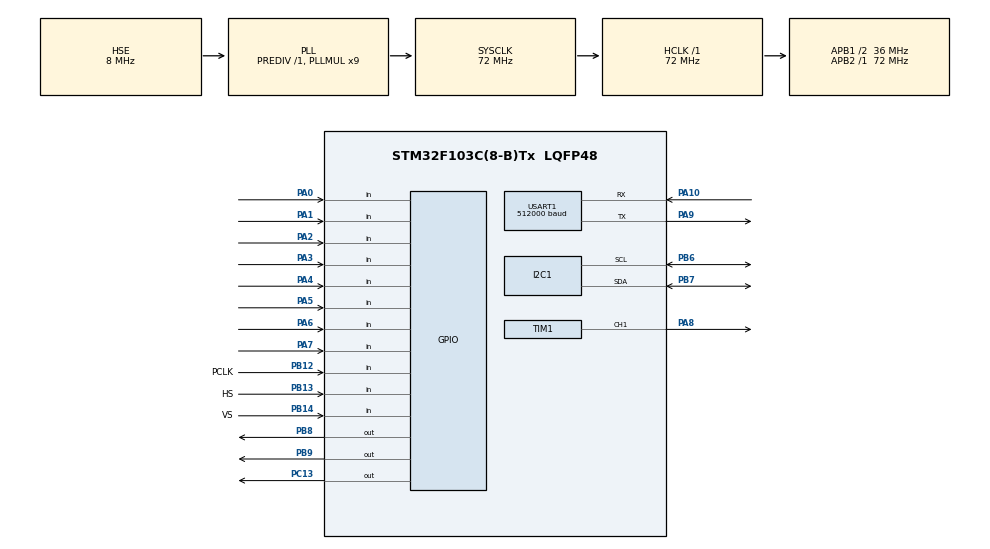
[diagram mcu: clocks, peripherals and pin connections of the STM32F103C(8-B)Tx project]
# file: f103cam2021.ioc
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Dma.Request0=USART1_TX
Dma.USART1_TX.0.Direction=DMA_MEMORY_TO_PERIPH
Dma.USART1_TX.0.Instance=DMA1_Channel4
Dma.USART1_TX.0.MemDataAlignment=DMA_MDATAALIGN_BYTE
Dma.USART1_TX.0.MemInc=DMA_MINC_ENABLE
Dma.USART1_TX.0.Mode=DMA_NORMAL
Dma.USART1_TX.0.PeriphDataAlignment=DMA_PDATAALIGN_BYTE
Dma.USART1_TX.0.PeriphInc=DMA_PINC_DISABLE
Dma.USART1_TX.0.Priority=DMA_PRIORITY_LOW
Mcu.Family=STM32F1
Mcu.Name=STM32F103C(8-B)Tx
Mcu.Package=LQFP48
NVIC.DMA1_Channel4_IRQn=true\:0\:0\:false\:false\:true\:false\:true
NVIC.PriorityGroup=NVIC_PRIORITYGROUP_4
PA0-WKUP.GPIO_PuPd=GPIO_PULLUP
PA0-WKUP.Signal=GPIO_Input
PA1.GPIO_PuPd=GPIO_PULLUP
PA1.Signal=GPIO_Input
PA10.Mode=Asynchronous
PA10.Signal=USART1_RX
PA13.Mode=Serial_Wire
PA13.Signal=SYS_JTMS-SWDIO
PA14.Mode=Serial_Wire
PA14.Signal=SYS_JTCK-SWCLK
PA2.GPIO_PuPd=GPIO_PULLUP
PA2.Signal=GPIO_Input
PA3.GPIO_PuPd=GPIO_PULLUP
PA3.Signal=GPIO_Input
PA4.Signal=GPIO_Input
PA5.Signal=GPIO_Input
PA6.Signal=GPIO_Input
PA7.Signal=GPIO_Input
PA8.Signal=S_TIM1_CH1
PA9.Mode=Asynchronous
PA9.Signal=USART1_TX
PB12.GPIO_Label=PCLK
PB12.Signal=GPIO_Input
PB13.GPIO_Label=HS
PB13.Signal=GPIO_Input
PB14.GPIO_Label=VS
PB14.Signal=GPIO_Input
PB6.Mode=I2C
PB6.Signal=I2C1_SCL
PB7.Mode=I2C
PB7.Signal=I2C1_SDA
PB8.Signal=GPIO_Output
PB9.Signal=GPIO_Output
PC13-TAMPER-RTC.Signal=GPIO_Output
PD0-OSC_IN.Mode=HSE-External-Oscillator
PD0-OSC_IN.Signal=RCC_OSC_IN
PD1-OSC_OUT.Mode=HSE-External-Oscillator
PD1-OSC_OUT.Signal=RCC_OSC_OUT
ProjectManager.HeapSize=0x200
ProjectManager.StackSize=0x400
ProjectManager.TargetToolchain=STM32CubeIDE
RCC.AHBFreq_Value=72000000
RCC.APB1CLKDivider=RCC_HCLK_DIV2
RCC.APB1Freq_Value=36000000
RCC.APB1TimFreq_Value=72000000
RCC.APB2Freq_Value=72000000
RCC.APB2TimFreq_Value=72000000
RCC.HCLKFreq_Value=72000000
RCC.PLLMUL=RCC_PLL_MUL9
RCC.PLLSourceVirtual=RCC_PLLSOURCE_HSE
RCC.SYSCLKFreq_VALUE=72000000
RCC.SYSCLKSource=RCC_SYSCLKSOURCE_PLLCLK
RCC.USBFreq_Value=48000000
RCC.USBPrescaler=RCC_USBCLKSOURCE_PLL_DIV1_5
SH.S_TIM1_CH1.0=TIM1_CH1,PWM Generation1 CH1
TIM1.Channel-PWM\ Generation1\ CH1=TIM_CHANNEL_1
TIM1.Period=1
TIM1.Prescaler=4
TIM1.Pulse-PWM\ Generation1\ CH1=1
TIM1.TIM_MasterOutputTrigger=TIM_TRGO_RESET
USART1.BaudRate=512000
USART1.VirtualMode=VM_ASYNC
VP_TIM1_VS_ClockSourceINT.Mode=Internal
board=custom

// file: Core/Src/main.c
/* USER CODE BEGIN Header */
/**
  ******************************************************************************
  * @file           : main.c
  * @brief          : Main program body
  ******************************************************************************
  * @attention
  *
  * <h2><center>&copy; Copyright (c) 2021 STMicroelectronics.
  * All rights reserved.</center></h2>
  *
  * This software component is licensed by ST under BSD 3-Clause license,
  * the "License"; You may not use this file except in compliance with the
  * License. You may obtain a copy of the License at:
  *                        opensource.org/licenses/BSD-3-Clause
  *
  ******************************************************************************
  */
/* USER CODE END Header */
#include "main.h"

/* USER CODE BEGIN Includes */
#include "regs.h"
/* USER CODE END Includes */

/* USER CODE BEGIN PM */

//pin setup
// PA0-7 cam data
//pb12 pclk
//pb13 HS
//pb14 VS

//pa8 PXCLK tim1 ch1

//pb6 clk i2c
//pb7 data i2c

//pa9 uart tx
//pa10 uart rx

/* USER CODE END PM */

I2C_HandleTypeDef hi2c1;

TIM_HandleTypeDef htim1;

UART_HandleTypeDef huart1;
DMA_HandleTypeDef hdma_usart1_tx;

/* USER CODE BEGIN PV */
#define ROWS 100
#define PIXS 100

volatile uint16_t pxCnt;
volatile uint16_t rows;
volatile uint8_t picIndex;
volatile uint16_t counter;
volatile uint8_t sendingBuffer;
uint8_t data[2][PIXS];
uint8_t reg;

/* USER CODE END PV */

void SystemClock_Config(void);
static void MX_GPIO_Init(void);
static void MX_DMA_Init(void);
static void MX_I2C1_Init(void);
static void MX_TIM1_Init(void);
static void MX_USART1_UART_Init(void);

/* USER CODE BEGIN 0 */

void camInit() {
	for(int i = 0; i < 5; i++){
		HAL_I2C_Mem_Write(&hi2c1, (0x21<<1), init_list[i][0], 1, &init_list[i][1], 1, 100);
		if(i > 0)
			HAL_I2C_Mem_Read(&hi2c1, (0x21<<1), init_list[i][0], 1, &data, 1, 100);
		HAL_Delay(1);
	}
}

/*
uint32_t getUs(void) {
	uint32_t usTicks = HAL_RCC_GetSysClockFreq() / 1000000;

	register uint32_t ms, cycle_cnt;

	do {
		ms = HAL_GetTick();
		cycle_cnt = SysTick->VAL;
	} while (ms != HAL_GetTick());

	return (ms * 1000) + (usTicks * 1000 - cycle_cnt) / usTicks;
}

void delayUs(uint16_t micros) {
	uint32_t start = getUs();

	while (getUs()-start < (uint32_t) micros) {
		asm("NOP");
	}

}

void clkOn(){
	HAL_GPIO_WritePin(GPIOB, GPIO_PIN_8, GPIO_PIN_SET);
}

void clkOff(){
	HAL_GPIO_WritePin(GPIOB, GPIO_PIN_8, GPIO_PIN_RESET);
}

void dataOn(){
	HAL_GPIO_WritePin(GPIOB, GPIO_PIN_9, GPIO_PIN_SET);
}

void dataOff(){
	HAL_GPIO_WritePin(GPIOB, GPIO_PIN_9, GPIO_PIN_RESET);
}

void delay(){
	delayUs(10);
}

void sendStart(){
	dataOn();
	delayUs(30);
	dataOff();
	delayUs(30);
	clkOff();

	delay();
}

void sendStop(){
	clkOn();

	dataOn();
	delayUs(30);
}

void sendData(uint8_t data){
	for(uint8_t i = 0; i < 8 ; i++){
		if((data<<i) & 0x80)
			dataOn();
		else
			dataOff();

		clkOn();

		delay();

		clkOff();

		delay();
//		HAL_Delay(1);
	}

	clkOn();

	delay();

	clkOff();

	delay();
}

void write(uint8_t reg, uint8_t data){
	sendStart();

	sendData(0x42);

	delayUs(60);

	sendData(reg);

	delayUs(60);

	sendData(data);

	sendStop();

	delayUs(60);

}

void read(uint8_t reg){
	sendStart();

	sendData(0x42);

	delayUs(60);

	sendData(reg);

	sendStart();

	sendData(0x43);

//	switch pin to read

}*/

/* USER CODE END 0 */

int main(void)
{

  /* MCU Configuration--------------------------------------------------------*/

  /* Reset of all peripherals, Initializes the Flash interface and the Systick. */
	HAL_Init();

  /* Configure the system clock */
  SystemClock_Config();

  /* Initialize all configured peripherals */
  MX_GPIO_Init();
  MX_DMA_Init();
  MX_I2C1_Init();
  MX_TIM1_Init();
  MX_USART1_UART_Init();
  /* USER CODE BEGIN 2 */

  HAL_TIM_PWM_Start(&htim1, TIM_CHANNEL_1);
  HAL_Delay(5);
  camInit();

  HAL_GPIO_WritePin(GPIOC, GPIO_PIN_13, GPIO_PIN_SET);
  HAL_UART_Transmit(&huart1, 1, 1, 10);
  HAL_Delay(5);
  HAL_UART_Transmit(&huart1, 2, 1, 10);
  HAL_Delay(5);
  HAL_UART_Transmit(&huart1, 3, 1, 10);
  HAL_Delay(5);
  HAL_UART_Transmit(&huart1, 14, 1, 10);
  HAL_GPIO_WritePin(GPIOC, GPIO_PIN_13, GPIO_PIN_RESET);

  sendingBuffer = 0;
  uint8_t pixelData;
  uint8_t *ptrPixelData;

  ptrPixelData = pixelData;

  /* USER CODE END 2 */

  while (1)
  {

    /* USER CODE BEGIN 3 */
//	  while(HAL_GPIO_ReadPin(VS_GPIO_Port, VS_Pin) == GPIO_PIN_RESET );
//	  while(HAL_GPIO_ReadPin(VS_GPIO_Port, VS_Pin) == GPIO_PIN_SET );
//	  while((HAL_GPIO_ReadPin(VS_GPIO_Port, VS_Pin) == GPIO_PIN_RESET)  &&
//			  (HAL_GPIO_ReadPin(HS_GPIO_Port, HS_Pin) == GPIO_PIN_RESET ));

	  //after sending wait until new image
	  if(HAL_GPIO_ReadPin(VS_GPIO_Port, VS_Pin) != GPIO_PIN_SET)
		  while(HAL_GPIO_ReadPin(VS_GPIO_Port, VS_Pin) == GPIO_PIN_RESET );

	  while(HAL_GPIO_ReadPin(VS_GPIO_Port, VS_Pin) == GPIO_PIN_SET );

	  rows= 0;

	  while(HAL_GPIO_ReadPin(VS_GPIO_Port, VS_Pin) == GPIO_PIN_RESET ){
		  while(HAL_GPIO_ReadPin(HS_GPIO_Port, HS_Pin) == GPIO_PIN_RESET &&
				  HAL_GPIO_ReadPin(VS_GPIO_Port, VS_Pin) == GPIO_PIN_RESET);

//note
// write to data array using pointer and check timings
//check with pin13 how long does read pin takes
// check interrupts timings and what is enabled timer dma uart etc
// fix stm i2c camera write
		  while(HAL_GPIO_ReadPin(HS_GPIO_Port, HS_Pin) == GPIO_PIN_SET){
//			 GPIOC->BSRR = GPIO_PIN_13;
			 if(pxCnt< PIXS)
				 pixelData = GPIOA->IDR & 0xff;
//			 GPIOC->BSRR = (uint32_t)GPIO_PIN_13 << 16u;

			 while(HAL_GPIO_ReadPin(PCLK_GPIO_Port, PCLK_Pin) == GPIO_PIN_RESET);

//			 HAL_GPIO_WritePin(GPIOC, GPIO_PIN_13, GPIO_PIN_SET);

			 //				  pixelData = (GPIOA->IDR == 10) ? 11 : GPIOA->IDR;

			 //PCLK High
			 while(HAL_GPIO_ReadPin(PCLK_GPIO_Port, PCLK_Pin) == GPIO_PIN_SET);

			 data[sendingBuffer][pxCnt] = pixelData;

			 //PCLK Low
			 while(HAL_GPIO_ReadPin(PCLK_GPIO_Port, PCLK_Pin) == GPIO_PIN_RESET);
			 pxCnt++;

			 //PCLK High
			 while(HAL_GPIO_ReadPin(PCLK_GPIO_Port, PCLK_Pin) == GPIO_PIN_SET);

		  }

//		  notes
//		zmien miejsce probkowania pikseli
//		fix uart dma INT
//		add uart reg handling
//		  use arduino to write ov7670 or fix stm i2c
//		  read pins on PCLK pin interrupt
		  data[sendingBuffer][0] = rows+11;
		  data[sendingBuffer][1] = 1;
		  data[sendingBuffer][2] = 1;
		  data[sendingBuffer][3] = 1;

		  data[sendingBuffer][PIXS-6] = 2;
		  data[sendingBuffer][PIXS-5] = 2;
		  data[sendingBuffer][PIXS-4] = 2;
		  data[sendingBuffer][PIXS-3] = pxCnt >> 8;
		  data[sendingBuffer][PIXS-2] = pxCnt;
		  data[sendingBuffer][PIXS-1] = 0x0a;

		  for(uint16_t i = 0;  i < PIXS; i++){
			  if(data[i] == 0x0a)
				  data[i] == data[i] + 1;
		  }

		  HAL_UART_Transmit_DMA(&huart1, data[sendingBuffer], PIXS);

//		  HAL_UART_Transmit_DMA(&huart1, "YOYOYOYOYO", 10);

		  pxCnt = 0;
		  sendingBuffer ^= 1;

		  if(rows > ROWS){
			  HAL_Delay(1);
			  HAL_UART_Transmit(&huart1, "STOP\n", 5, 100);
			  HAL_UART_Transmit(&huart1, "STOP\n", 5, 100);
			  HAL_UART_Transmit(&huart1, "STOP\n", 5, 100);

			  while(HAL_GPIO_ReadPin(VS_GPIO_Port, VS_Pin) == GPIO_PIN_RESET );

//				  HAL_UART_Transmt(&huart1, "STOP", 4, 100);

		  }

		  rows++;

//		  HAL_UART_Transmit(&huart1, tot2, 1, 10);

	  }// end of pic loop

  }// end while
  /* USER CODE END 3 */
}

void SystemClock_Config(void)
{
  RCC_OscInitTypeDef RCC_OscInitStruct = {0};
  RCC_ClkInitTypeDef RCC_ClkInitStruct = {0};

  /** Initializes the RCC Oscillators according to the specified parameters
  * in the RCC_OscInitTypeDef structure.
  */
  RCC_OscInitStruct.OscillatorType = RCC_OSCILLATORTYPE_HSE;
  RCC_OscInitStruct.HSEState = RCC_HSE_ON;
  RCC_OscInitStruct.HSEPredivValue = RCC_HSE_PREDIV_DIV1;
  RCC_OscInitStruct.HSIState = RCC_HSI_ON;
  RCC_OscInitStruct.PLL.PLLState = RCC_PLL_ON;
  RCC_OscInitStruct.PLL.PLLSource = RCC_PLLSOURCE_HSE;
  RCC_OscInitStruct.PLL.PLLMUL = RCC_PLL_MUL9;
  if (HAL_RCC_OscConfig(&RCC_OscInitStruct) != HAL_OK)
  {
    Error_Handler();
  }
  /** Initializes the CPU, AHB and APB buses clocks
  */
  RCC_ClkInitStruct.ClockType = RCC_CLOCKTYPE_HCLK|RCC_CLOCKTYPE_SYSCLK
                              |RCC_CLOCKTYPE_PCLK1|RCC_CLOCKTYPE_PCLK2;
  RCC_ClkInitStruct.SYSCLKSource = RCC_SYSCLKSOURCE_PLLCLK;
  RCC_ClkInitStruct.AHBCLKDivider = RCC_SYSCLK_DIV1;
  RCC_ClkInitStruct.APB1CLKDivider = RCC_HCLK_DIV2;
  RCC_ClkInitStruct.APB2CLKDivider = RCC_HCLK_DIV1;

  if (HAL_RCC_ClockConfig(&RCC_ClkInitStruct, FLASH_LATENCY_2) != HAL_OK)
  {
    Error_Handler();
  }
}

static void MX_I2C1_Init(void)
{

  hi2c1.Instance = I2C1;
  hi2c1.Init.ClockSpeed = 100000;
  hi2c1.Init.DutyCycle = I2C_DUTYCYCLE_2;
  hi2c1.Init.OwnAddress1 = 0;
  hi2c1.Init.AddressingMode = I2C_ADDRESSINGMODE_7BIT;
  hi2c1.Init.DualAddressMode = I2C_DUALADDRESS_DISABLE;
  hi2c1.Init.OwnAddress2 = 0;
  hi2c1.Init.GeneralCallMode = I2C_GENERALCALL_DISABLE;
  hi2c1.Init.NoStretchMode = I2C_NOSTRETCH_DISABLE;
  if (HAL_I2C_Init(&hi2c1) != HAL_OK)
  {
    Error_Handler();
  }

}

static void MX_TIM1_Init(void)
{

  TIM_ClockConfigTypeDef sClockSourceConfig = {0};
  TIM_MasterConfigTypeDef sMasterConfig = {0};
  TIM_OC_InitTypeDef sConfigOC = {0};
  TIM_BreakDeadTimeConfigTypeDef sBreakDeadTimeConfig = {0};

  htim1.Instance = TIM1;
  htim1.Init.Prescaler = 2;
  htim1.Init.CounterMode = TIM_COUNTERMODE_UP;
  htim1.Init.Period = 1;
  htim1.Init.ClockDivision = TIM_CLOCKDIVISION_DIV1;
  htim1.Init.RepetitionCounter = 0;
  htim1.Init.AutoReloadPreload = TIM_AUTORELOAD_PRELOAD_DISABLE;
  if (HAL_TIM_Base_Init(&htim1) != HAL_OK)
  {
    Error_Handler();
  }
  sClockSourceConfig.ClockSource = TIM_CLOCKSOURCE_INTERNAL;
  if (HAL_TIM_ConfigClockSource(&htim1, &sClockSourceConfig) != HAL_OK)
  {
    Error_Handler();
  }
  if (HAL_TIM_PWM_Init(&htim1) != HAL_OK)
  {
    Error_Handler();
  }
  sMasterConfig.MasterOutputTrigger = TIM_TRGO_RESET;
  sMasterConfig.MasterSlaveMode = TIM_MASTERSLAVEMODE_DISABLE;
  if (HAL_TIMEx_MasterConfigSynchronization(&htim1, &sMasterConfig) != HAL_OK)
  {
    Error_Handler();
  }
  sConfigOC.OCMode = TIM_OCMODE_PWM1;
  sConfigOC.Pulse = 1;
  sConfigOC.OCPolarity = TIM_OCPOLARITY_HIGH;
  sConfigOC.OCNPolarity = TIM_OCNPOLARITY_HIGH;
  sConfigOC.OCFastMode = TIM_OCFAST_DISABLE;
  sConfigOC.OCIdleState = TIM_OCIDLESTATE_RESET;
  sConfigOC.OCNIdleState = TIM_OCNIDLESTATE_RESET;
  if (HAL_TIM_PWM_ConfigChannel(&htim1, &sConfigOC, TIM_CHANNEL_1) != HAL_OK)
  {
    Error_Handler();
  }
  sBreakDeadTimeConfig.OffStateRunMode = TIM_OSSR_DISABLE;
  sBreakDeadTimeConfig.OffStateIDLEMode = TIM_OSSI_DISABLE;
  sBreakDeadTimeConfig.LockLevel = TIM_LOCKLEVEL_OFF;
  sBreakDeadTimeConfig.DeadTime = 0;
  sBreakDeadTimeConfig.BreakState = TIM_BREAK_DISABLE;
  sBreakDeadTimeConfig.BreakPolarity = TIM_BREAKPOLARITY_HIGH;
  sBreakDeadTimeConfig.AutomaticOutput = TIM_AUTOMATICOUTPUT_DISABLE;
  if (HAL_TIMEx_ConfigBreakDeadTime(&htim1, &sBreakDeadTimeConfig) != HAL_OK)
  {
    Error_Handler();
  }
  HAL_TIM_MspPostInit(&htim1);

}

static void MX_USART1_UART_Init(void)
{

  huart1.Instance = USART1;
  huart1.Init.BaudRate = 500000;
  huart1.Init.WordLength = UART_WORDLENGTH_8B;
  huart1.Init.StopBits = UART_STOPBITS_1;
  huart1.Init.Parity = UART_PARITY_NONE;
  huart1.Init.Mode = UART_MODE_TX_RX;
  huart1.Init.HwFlowCtl = UART_HWCONTROL_NONE;
  huart1.Init.OverSampling = UART_OVERSAMPLING_16;
  if (HAL_UART_Init(&huart1) != HAL_OK)
  {
    Error_Handler();
  }

}

static void MX_DMA_Init(void)
{

  /* DMA controller clock enable */
  __HAL_RCC_DMA1_CLK_ENABLE();

  /* DMA interrupt init */
  /* DMA1_Channel4_IRQn interrupt configuration */
  HAL_NVIC_SetPriority(DMA1_Channel4_IRQn, 0, 0);
  HAL_NVIC_EnableIRQ(DMA1_Channel4_IRQn);

}

static void MX_GPIO_Init(void)
{
  GPIO_InitTypeDef GPIO_InitStruct = {0};

  /* GPIO Ports Clock Enable */
  __HAL_RCC_GPIOC_CLK_ENABLE();
  __HAL_RCC_GPIOD_CLK_ENABLE();
  __HAL_RCC_GPIOA_CLK_ENABLE();
  __HAL_RCC_GPIOB_CLK_ENABLE();

  /*Configure GPIO pin Output Level */
  HAL_GPIO_WritePin(GPIOC, GPIO_PIN_13, GPIO_PIN_RESET);

  /*Configure GPIO pin Output Level */
  HAL_GPIO_WritePin(GPIOB, GPIO_PIN_8|GPIO_PIN_9, GPIO_PIN_RESET);

  /*Configure GPIO pin : PC13 */
  GPIO_InitStruct.Pin = GPIO_PIN_13;
  GPIO_InitStruct.Mode = GPIO_MODE_OUTPUT_PP;
  GPIO_InitStruct.Pull = GPIO_NOPULL;
  GPIO_InitStruct.Speed = GPIO_SPEED_FREQ_LOW;
  HAL_GPIO_Init(GPIOC, &GPIO_InitStruct);

  /*Configure GPIO pins : PA0 PA1 PA2 PA3 */
  GPIO_InitStruct.Pin = GPIO_PIN_0|GPIO_PIN_1|GPIO_PIN_2|GPIO_PIN_3;
  GPIO_InitStruct.Mode = GPIO_MODE_INPUT;
  GPIO_InitStruct.Pull = GPIO_PULLUP;
  HAL_GPIO_Init(GPIOA, &GPIO_InitStruct);

  /*Configure GPIO pins : PA4 PA5 PA6 PA7 */
  GPIO_InitStruct.Pin = GPIO_PIN_4|GPIO_PIN_5|GPIO_PIN_6|GPIO_PIN_7;
  GPIO_InitStruct.Mode = GPIO_MODE_INPUT;
  GPIO_InitStruct.Pull = GPIO_NOPULL;
  HAL_GPIO_Init(GPIOA, &GPIO_InitStruct);

  /*Configure GPIO pins : PCLK_Pin HS_Pin VS_Pin */
  GPIO_InitStruct.Pin = PCLK_Pin|HS_Pin|VS_Pin;
  GPIO_InitStruct.Mode = GPIO_MODE_INPUT;
  GPIO_InitStruct.Pull = GPIO_NOPULL;
  HAL_GPIO_Init(GPIOB, &GPIO_InitStruct);

  /*Configure GPIO pins : PB8 PB9 */
  GPIO_InitStruct.Pin = GPIO_PIN_8|GPIO_PIN_9;
  GPIO_InitStruct.Mode = GPIO_MODE_OUTPUT_PP;
  GPIO_InitStruct.Pull = GPIO_NOPULL;
  GPIO_InitStruct.Speed = GPIO_SPEED_FREQ_LOW;
  HAL_GPIO_Init(GPIOB, &GPIO_InitStruct);

}

/* USER CODE BEGIN 4 */
//HAL_UART_TxCpltCallback(UART_HandleTypeDef *huart)
void HAL_UART_TxCpltCallback(UART_HandleTypeDef *huart){
	HAL_GPIO_TogglePin(GPIOC, GPIO_PIN_13);
	HAL_GPIO_TogglePin(GPIOC, GPIO_PIN_13);
	HAL_GPIO_TogglePin(GPIOC, GPIO_PIN_13);
	HAL_GPIO_TogglePin(GPIOC, GPIO_PIN_13);
	HAL_GPIO_TogglePin(GPIOC, GPIO_PIN_13);
	HAL_GPIO_TogglePin(GPIOC, GPIO_PIN_13);

}

/* USER CODE END 4 */

void Error_Handler(void)
{
}

/************************ (C) COPYRIGHT STMicroelectronics *****END OF FILE****/
